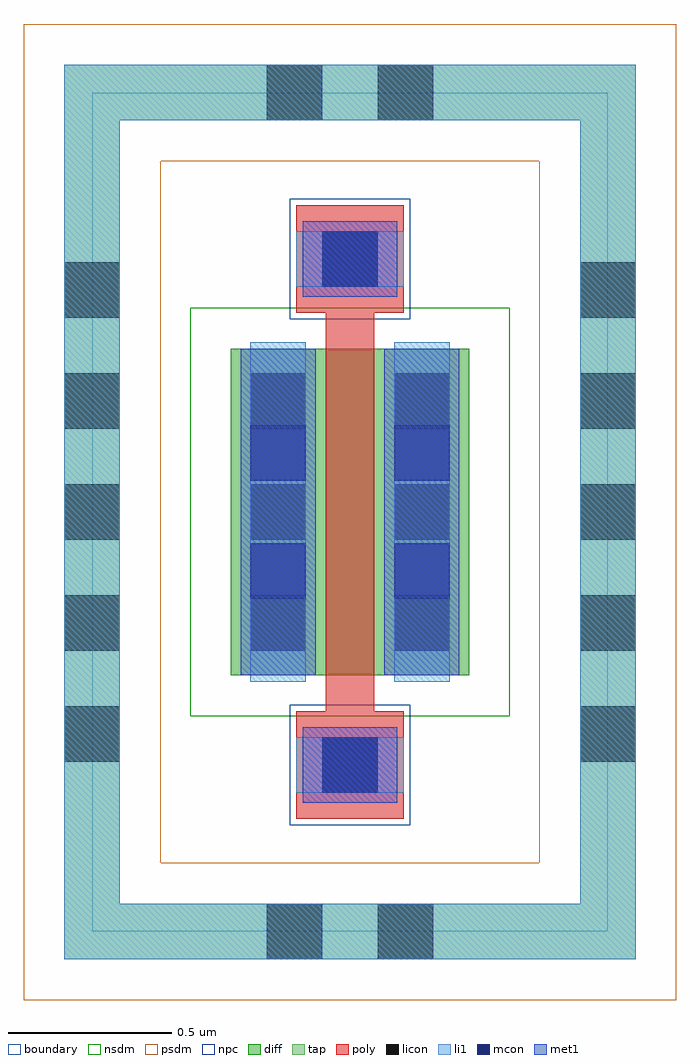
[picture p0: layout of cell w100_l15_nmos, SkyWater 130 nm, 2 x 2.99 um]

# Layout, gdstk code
import gdstk
lib = gdstk.Library(unit=1e-6, precision=1e-09)
def R(c, l, rs):  # rectangles x0, y0, x1, y1
    for r in rs: c.add(gdstk.rectangle(r[:2], r[2:], *l))
def A(c, l, x, y, w, h, nx, ny, dx, dy):  # array of equal rectangles
    R(c, l, [(x+i*dx, y+j*dy, x+i*dx+w, y+j*dy+h) for i in range(nx) for j in range(ny)])
diff = (65, 20)
tap = (65, 44)
poly = (66, 20)
licon = (66, 44)
li1 = (67, 20)
mcon = (67, 44)
met1 = (68, 20)
nsdm = (93, 44)
psdm = (94, 20)
npc = (95, 20)
boundary = (235, 4)

sky130_fd_pr__nfet_01v8 = lib.new_cell('sky130_fd_pr__nfet_01v8')

w100_l15_nmos = lib.new_cell('w100_l15_nmos')
R(w100_l15_nmos, diff, [(-0.365,-0.5,0.365,0.5)])
R(w100_l15_nmos, tap, [(-0.875,-1.37,0.875,-1.2), (-0.875,-1.2,-0.705,1.2), (0.705,-1.2,0.875,1.2), (-0.875,1.2,0.875,1.37)])
R(w100_l15_nmos, poly, [(-0.165,-0.94,0.165,-0.61), (-0.075,-0.61,0.075,0.61), (-0.165,0.61,0.165,0.94)])
A(w100_l15_nmos, licon, -0.875, -0.765, 0.17, 0.17, 1, 5, 0, 0.34)
A(w100_l15_nmos, licon, 0.705, -0.765, 0.17, 0.17, 1, 5, 0, 0.34)
A(w100_l15_nmos, licon, -0.305, -0.425, 0.17, 0.17, 1, 3, 0, 0.34)
A(w100_l15_nmos, licon, 0.135, -0.425, 0.17, 0.17, 1, 3, 0, 0.34)
R(w100_l15_nmos, licon, [(-0.255,-1.37,-0.085,-1.2), (0.085,-1.37,0.255,-1.2), (-0.085,-0.86,0.085,-0.69), (-0.085,0.69,0.085,0.86), (-0.255,1.2,-0.085,1.37), (0.085,1.2,0.255,1.37)])
R(w100_l15_nmos, li1, [(-0.875,-1.37,0.875,-1.2), (-0.875,-1.2,-0.705,1.2), (0.705,-1.2,0.875,1.2), (-0.165,-0.86,0.165,-0.69), (-0.305,-0.52,-0.135,0.52), (0.135,-0.52,0.305,0.52), (-0.165,0.69,0.165,0.86), (-0.875,1.2,0.875,1.37)])
R(w100_l15_nmos, mcon, [(-0.085,-0.86,0.085,-0.69), (-0.305,-0.265,-0.135,-0.095), (0.135,-0.265,0.305,-0.095), (-0.305,0.095,-0.135,0.265), (0.135,0.095,0.305,0.265), (-0.085,0.69,0.085,0.86)])
R(w100_l15_nmos, met1, [(-0.145,-0.89,0.145,-0.66), (-0.335,-0.5,-0.105,0.5), (0.105,-0.5,0.335,0.5), (-0.145,0.66,0.145,0.89)])
R(w100_l15_nmos, nsdm, [(-0.49,-0.625,0.49,0.625)])
R(w100_l15_nmos, psdm, [(-1,-1.495,1,-1.075), (-1,-1.075,-0.58,1.075), (0.58,-1.075,1,1.075), (-1,1.075,1,1.495)])
R(w100_l15_nmos, npc, [(-0.185,-0.96,0.185,-0.59), (-0.185,0.59,0.185,0.96)])
R(w100_l15_nmos, boundary, [(-0.79,-1.285,0.79,1.285)])
w100_l15_nmos.add(gdstk.Reference(sky130_fd_pr__nfet_01v8, (0,0)))

lib.write_gds('w100_l15_nmos.gds')
